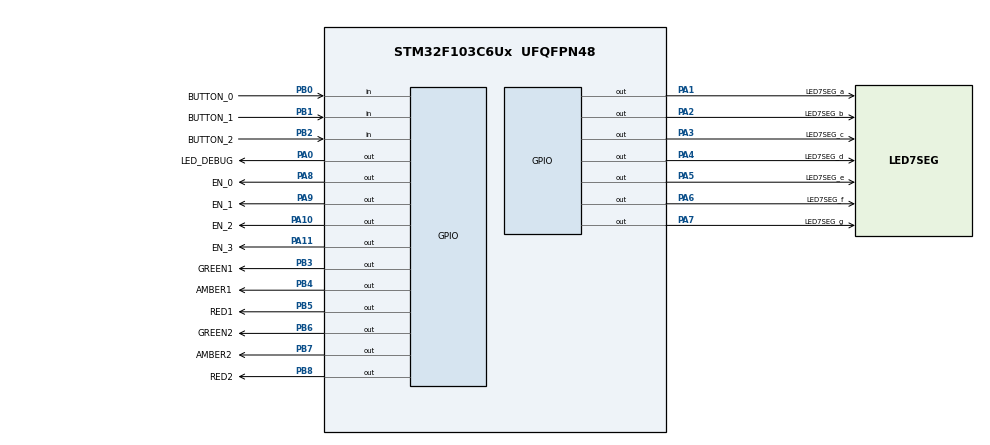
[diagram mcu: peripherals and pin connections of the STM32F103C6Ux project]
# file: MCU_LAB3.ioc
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Mcu.Family=STM32F1
Mcu.Name=STM32F103C6Ux
Mcu.Package=UFQFPN48
NVIC.PriorityGroup=NVIC_PRIORITYGROUP_4
NVIC.TIM2_IRQn=true\:0\:0\:false\:false\:true\:true\:true\:true
PA0-WKUP.PinState=GPIO_PIN_SET
PA0-WKUP.GPIO_Label=LED_DEBUG
PA0-WKUP.Signal=GPIO_Output
PA1.PinState=GPIO_PIN_SET
PA1.GPIO_Label=LED7SEG_a
PA1.Signal=GPIO_Output
PA10.PinState=GPIO_PIN_SET
PA10.GPIO_Label=EN_2
PA10.Signal=GPIO_Output
PA11.PinState=GPIO_PIN_SET
PA11.GPIO_Label=EN_3
PA11.Signal=GPIO_Output
PA2.PinState=GPIO_PIN_SET
PA2.GPIO_Label=LED7SEG_b
PA2.Signal=GPIO_Output
PA3.PinState=GPIO_PIN_SET
PA3.GPIO_Label=LED7SEG_c
PA3.Signal=GPIO_Output
PA4.PinState=GPIO_PIN_SET
PA4.GPIO_Label=LED7SEG_d
PA4.Signal=GPIO_Output
PA5.PinState=GPIO_PIN_SET
PA5.GPIO_Label=LED7SEG_e
PA5.Signal=GPIO_Output
PA6.PinState=GPIO_PIN_SET
PA6.GPIO_Label=LED7SEG_f
PA6.Signal=GPIO_Output
PA7.PinState=GPIO_PIN_SET
PA7.GPIO_Label=LED7SEG_g
PA7.Signal=GPIO_Output
PA8.PinState=GPIO_PIN_SET
PA8.GPIO_Label=EN_0
PA8.Signal=GPIO_Output
PA9.PinState=GPIO_PIN_SET
PA9.GPIO_Label=EN_1
PA9.Signal=GPIO_Output
PB0.GPIO_Label=BUTTON_0
PB0.Signal=GPIO_Input
PB1.GPIO_Label=BUTTON_1
PB1.Signal=GPIO_Input
PB2.GPIO_Label=BUTTON_2
PB2.Signal=GPIO_Input
PB3.PinState=GPIO_PIN_SET
PB3.GPIO_Label=GREEN1
PB3.Signal=GPIO_Output
PB4.PinState=GPIO_PIN_SET
PB4.GPIO_Label=AMBER1
PB4.Signal=GPIO_Output
PB5.PinState=GPIO_PIN_SET
PB5.GPIO_Label=RED1
PB5.Signal=GPIO_Output
PB6.PinState=GPIO_PIN_SET
PB6.GPIO_Label=GREEN2
PB6.Signal=GPIO_Output
PB7.PinState=GPIO_PIN_SET
PB7.GPIO_Label=AMBER2
PB7.Signal=GPIO_Output
PB8.PinState=GPIO_PIN_SET
PB8.GPIO_Label=RED2
PB8.Signal=GPIO_Output
ProjectManager.HeapSize=0x200
ProjectManager.StackSize=0x400
ProjectManager.TargetToolchain=STM32CubeIDE
RCC.APB1Freq_Value=8000000
RCC.APB2Freq_Value=8000000
TIM2.Period=9
TIM2.Prescaler=7999
VP_SYS_VS_ND.Mode=No_Debug
VP_TIM2_VS_ClockSourceINT.Mode=Internal
board=custom

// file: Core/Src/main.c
/* USER CODE BEGIN Header */
/**
 ******************************************************************************
 * @file           : main.c
 * @brief          : Main program body
 ******************************************************************************
 * @attention
 *
 * Copyright (c) 2025 STMicroelectronics.
 * All rights reserved.
 *
 * This software is licensed under terms that can be found in the LICENSE file
 * in the root directory of this software component.
 * If no LICENSE file comes with this software, it is provided AS-IS.
 *
 ******************************************************************************
 */
/* USER CODE END Header */
#include "main.h"
#include "tim.h"
#include "gpio.h"

/* USER CODE BEGIN Includes */
#include "test.h"
#include "global.h"
#include "software_timer.h"
#include "button.h"
#include "led7seg.h"
#include "app.h"
/* USER CODE END Includes */

void SystemClock_Config(void);
/* USER CODE BEGIN PFP */
void system_init();
/* USER CODE END PFP */

int main(void)
{

	/* MCU Configuration--------------------------------------------------------*/

	/* Reset of all peripherals, Initializes the Flash interface and the Systick. */
	HAL_Init();

	/* Configure the system clock */
	SystemClock_Config();

	/* Initialize all configured peripherals */
	MX_GPIO_Init();
	MX_TIM2_Init();
	/* USER CODE BEGIN 2 */
	button_init();
	app_Set_timer();
	system_init();
	uint32_t last_button_ms = HAL_GetTick();
	uint32_t last_display_ms = last_button_ms;
	/* USER CODE END 2 */

	/* Infinite loop */
	/* USER CODE BEGIN WHILE */
	while (1)
	{
		uint32_t now = HAL_GetTick();
		/* Keep input/display responsive even during a 100 ms TIM2 experiment.
		 * Never create synthetic debounce samples by replaying missed ticks. */
		if ((uint32_t)(now - last_button_ms) >= BUTTON_SCAN_MS) {
			last_button_ms = now;
			button_scan();
		}
		if ((uint32_t)(now - last_display_ms) >= 5U) {
			last_display_ms = now;
			led7seg_scan();
		}

		app_Select_mode();
		/* USER CODE END WHILE */

	}
}

void SystemClock_Config(void)
{
	RCC_OscInitTypeDef RCC_OscInitStruct = {0};
	RCC_ClkInitTypeDef RCC_ClkInitStruct = {0};

	/** Initializes the RCC Oscillators according to the specified parameters
	 * in the RCC_OscInitTypeDef structure.
	 */
	RCC_OscInitStruct.OscillatorType = RCC_OSCILLATORTYPE_HSI;
	RCC_OscInitStruct.HSIState = RCC_HSI_ON;
	RCC_OscInitStruct.HSICalibrationValue = RCC_HSICALIBRATION_DEFAULT;
	RCC_OscInitStruct.PLL.PLLState = RCC_PLL_NONE;
	if (HAL_RCC_OscConfig(&RCC_OscInitStruct) != HAL_OK)
	{
		Error_Handler();
	}

	/** Initializes the CPU, AHB and APB buses clocks
	 */
	RCC_ClkInitStruct.ClockType = RCC_CLOCKTYPE_HCLK|RCC_CLOCKTYPE_SYSCLK
			|RCC_CLOCKTYPE_PCLK1|RCC_CLOCKTYPE_PCLK2;
	RCC_ClkInitStruct.SYSCLKSource = RCC_SYSCLKSOURCE_HSI;
	RCC_ClkInitStruct.AHBCLKDivider = RCC_SYSCLK_DIV1;
	RCC_ClkInitStruct.APB1CLKDivider = RCC_HCLK_DIV1;
	RCC_ClkInitStruct.APB2CLKDivider = RCC_HCLK_DIV1;

	if (HAL_RCC_ClockConfig(&RCC_ClkInitStruct, FLASH_LATENCY_0) != HAL_OK)
	{
		Error_Handler();
	}
}

/* USER CODE BEGIN 4 */
void system_init() {
	timer_init();
}
/* USER CODE END 4 */

void Error_Handler(void)
{
	__disable_irq();
	while (1)
	{
	}
}
